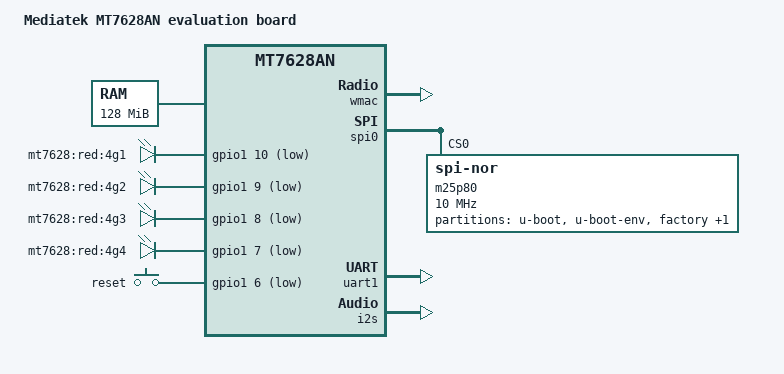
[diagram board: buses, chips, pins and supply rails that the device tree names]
/dts-v1/;

#include "mt7628an.dtsi"

/ {
	compatible = "mediatek,mt7628an-eval-board", "mediatek,mt7628an-soc";
	model = "Mediatek MT7628AN evaluation board";

	memory@0 {
		device_type = "memory";
		reg = <0x0 0x8000000>;
	};
	gpio-leds {
		compatible = "gpio-leds";

		4g1 {
			label = "mt7628:red:4g1";
			gpios = <&gpio1 10 1>;
		};

		4g2 {
			label = "mt7628:red:4g2";
			gpios = <&gpio1 9 1>;
		};

		4g3 {
			label = "mt7628:red:4g3";
			gpios = <&gpio1 8 1>;
		};

		4g4 {
			label = "mt7628:red:4g4";
			gpios = <&gpio1 7 1>;
		};

	};
	gpio-keys-polled {
		compatible = "gpio-keys-polled";
		#address-cells = <1>;
		#size-cells = <0>;
		poll-interval = <20>;
		reset {
			label = "reset";
			gpios = <&gpio1 6 1>; //gpio38 wdt_rst
			linux,code = <0x198>;
			
		};
	};
};

&pinctrl {
	state_default: pinctrl0 {
		gpio {
			ralink,group = "jtag","refclk","perst","wdt","i2s","gpio","p1led_an","p2led_an","p3led_an","p4led_an";
			ralink,function = "gpio";
		};
		wled_an {
			ralink,group = "wled_an";
			ralink,function = "wled_an";
			};
		i2c {
			ralink,group = "i2c";
			ralink,function = "gpio";
		};
	};
};

&wmac {
	status = "okay";
};

&spi0 {
	status = "okay";

	m25p80@0 {
		#address-cells = <1>;
		#size-cells = <1>;
		compatible = "jedec,spi-nor";
		reg = <0>;
		spi-max-frequency = <10000000>;
		m25p,chunked-io = <32>;

		partition@0 {
			label = "u-boot";
			reg = <0x0 0x30000>;
			read-only;
		};

		partition@30000 {
			label = "u-boot-env";
			reg = <0x30000 0x10000>;
			read-only;
		};

		factory: partition@40000 {
			label = "factory";
			reg = <0x40000 0x10000>;
			//read-only;
		};

		partition@50000 {
			label = "firmware";
			reg = <0x50000 0xfb0000>;
		};
	};
};
	//&i2c {
	//		status = "okay";
	//	};
	&uart1 {
			status = "okay";
		};
	&i2s {
			status = "okay";
		};
	&ethernet {
		mtd-mac-address = <&factory 0x28>;
	};

&wmac {
	status = "okay";
};
